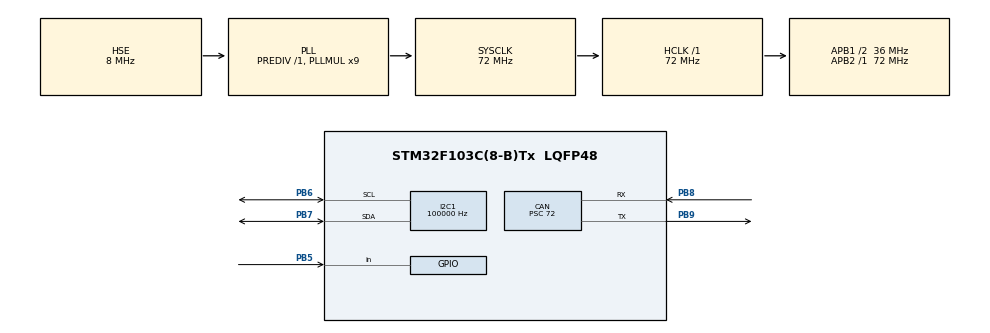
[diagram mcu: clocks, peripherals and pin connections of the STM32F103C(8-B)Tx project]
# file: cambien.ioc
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CAN.BS1=CAN_BS1_2TQ
CAN.CalculateBaudRate=125000
CAN.CalculateTimeBit=8000
CAN.CalculateTimeQuantum=2000.0
CAN.Prescaler=72
I2C1.ClockSpeed=100000
I2C1.I2C_Mode=I2C_Standard
Mcu.Family=STM32F1
Mcu.Name=STM32F103C(8-B)Tx
Mcu.Package=LQFP48
NVIC.CAN1_RX1_IRQn=true\:0\:0\:false\:false\:true\:true\:true\:true
NVIC.PriorityGroup=NVIC_PRIORITYGROUP_4
PA13.Mode=Serial_Wire
PA13.Signal=SYS_JTMS-SWDIO
PA14.Mode=Serial_Wire
PA14.Signal=SYS_JTCK-SWCLK
PB5.Signal=GPIO_Input
PB6.Mode=I2C
PB6.Signal=I2C1_SCL
PB7.Mode=I2C
PB7.Signal=I2C1_SDA
PB8.Mode=CAN_Activate
PB8.Signal=CAN_RX
PB9.Mode=CAN_Activate
PB9.Signal=CAN_TX
PD0-OSC_IN.Mode=HSE-External-Oscillator
PD0-OSC_IN.Signal=RCC_OSC_IN
PD1-OSC_OUT.Mode=HSE-External-Oscillator
PD1-OSC_OUT.Signal=RCC_OSC_OUT
ProjectManager.HeapSize=0x200
ProjectManager.StackSize=0x400
ProjectManager.TargetToolchain=STM32CubeIDE
RCC.AHBFreq_Value=72000000
RCC.APB1CLKDivider=RCC_HCLK_DIV2
RCC.APB1Freq_Value=36000000
RCC.APB1TimFreq_Value=72000000
RCC.APB2Freq_Value=72000000
RCC.APB2TimFreq_Value=72000000
RCC.HCLKFreq_Value=72000000
RCC.PLLMUL=RCC_PLL_MUL9
RCC.PLLSourceVirtual=RCC_PLLSOURCE_HSE
RCC.SYSCLKFreq_VALUE=72000000
RCC.SYSCLKSource=RCC_SYSCLKSOURCE_PLLCLK
RCC.USBFreq_Value=72000000
board=custom

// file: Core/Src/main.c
/* USER CODE BEGIN Header */
/**
  ******************************************************************************
  * @file           : main.c
  * @brief          : Main program body
  ******************************************************************************
  * @attention
  *
  * Copyright (c) 2025 STMicroelectronics.
  * All rights reserved.
  *
  * This software is licensed under terms that can be found in the LICENSE file
  * in the root directory of this software component.
  * If no LICENSE file comes with this software, it is provided AS-IS.
  *
  ******************************************************************************
  */
/* USER CODE END Header */
#include "main.h"
#include "can.h"
#include "i2c.h"
#include "gpio.h"

/* USER CODE BEGIN Includes */
#include "mpu6050.h"
/* USER CODE END Includes */

/* USER CODE BEGIN PV */
MPU6050_t MPU;
CAN_TxHeaderTypeDef TxHeader;
uint8_t TxData[8];
uint32_t TxMailbox;
/* USER CODE END PV */

void SystemClock_Config(void);

int main(void)
{

  /* MCU Configuration--------------------------------------------------------*/

  /* Reset of all peripherals, Initializes the Flash interface and the Systick. */
  HAL_Init();

  /* Configure the system clock */
  SystemClock_Config();

  /* Initialize all configured peripherals */
  MX_GPIO_Init();
  MX_CAN_Init();
  MX_I2C1_Init();
  /* USER CODE BEGIN 2 */
  MPU6050_Init(&hi2c1);          // Khởi tạo MPU6050
  HAL_CAN_Start(&hcan);          // Khởi động CAN

  TxHeader.StdId = 0x321;
  TxHeader.IDE = CAN_ID_STD;
  TxHeader.RTR = CAN_RTR_DATA;
  TxHeader.DLC = 6; // Gửi 6 byte (Accel_X, Accel_Y, Accel_Z)
  /* USER CODE END 2 */

  /* Infinite loop */
  /* USER CODE BEGIN WHILE */
  while (1)
  {
	  // Đọc dữ liệu cảm biến
	  MPU6050_Read_All(&hi2c1, &MPU);

	  // Gán dữ liệu cảm biến vào mảng TxData
	  TxData[0] = MPU.Accel_X_RAW >> 8;
	  TxData[1] = MPU.Accel_X_RAW & 0xFF;
	  TxData[2] = MPU.Accel_Y_RAW >> 8;
	  TxData[3] = MPU.Accel_Y_RAW & 0xFF;
	  TxData[4] = MPU.Accel_Z_RAW >> 8;
	  TxData[5] = MPU.Accel_Z_RAW & 0xFF;

	  // Gửi khung CAN
	  HAL_CAN_AddTxMessage(&hcan, &TxHeader, TxData, &TxMailbox);

	  HAL_Delay(100); // Gửi mỗi 100ms
    /* USER CODE END WHILE */

  }
}

void SystemClock_Config(void)
{
  RCC_OscInitTypeDef RCC_OscInitStruct = {0};
  RCC_ClkInitTypeDef RCC_ClkInitStruct = {0};

  /** Initializes the RCC Oscillators according to the specified parameters
  * in the RCC_OscInitTypeDef structure.
  */
  RCC_OscInitStruct.OscillatorType = RCC_OSCILLATORTYPE_HSE;
  RCC_OscInitStruct.HSEState = RCC_HSE_ON;
  RCC_OscInitStruct.HSEPredivValue = RCC_HSE_PREDIV_DIV1;
  RCC_OscInitStruct.HSIState = RCC_HSI_ON;
  RCC_OscInitStruct.PLL.PLLState = RCC_PLL_ON;
  RCC_OscInitStruct.PLL.PLLSource = RCC_PLLSOURCE_HSE;
  RCC_OscInitStruct.PLL.PLLMUL = RCC_PLL_MUL9;
  if (HAL_RCC_OscConfig(&RCC_OscInitStruct) != HAL_OK)
  {
    Error_Handler();
  }

  /** Initializes the CPU, AHB and APB buses clocks
  */
  RCC_ClkInitStruct.ClockType = RCC_CLOCKTYPE_HCLK|RCC_CLOCKTYPE_SYSCLK
                              |RCC_CLOCKTYPE_PCLK1|RCC_CLOCKTYPE_PCLK2;
  RCC_ClkInitStruct.SYSCLKSource = RCC_SYSCLKSOURCE_PLLCLK;
  RCC_ClkInitStruct.AHBCLKDivider = RCC_SYSCLK_DIV1;
  RCC_ClkInitStruct.APB1CLKDivider = RCC_HCLK_DIV2;
  RCC_ClkInitStruct.APB2CLKDivider = RCC_HCLK_DIV1;

  if (HAL_RCC_ClockConfig(&RCC_ClkInitStruct, FLASH_LATENCY_2) != HAL_OK)
  {
    Error_Handler();
  }
}

void Error_Handler(void)
{
  __disable_irq();
  while (1)
  {
  }
}
